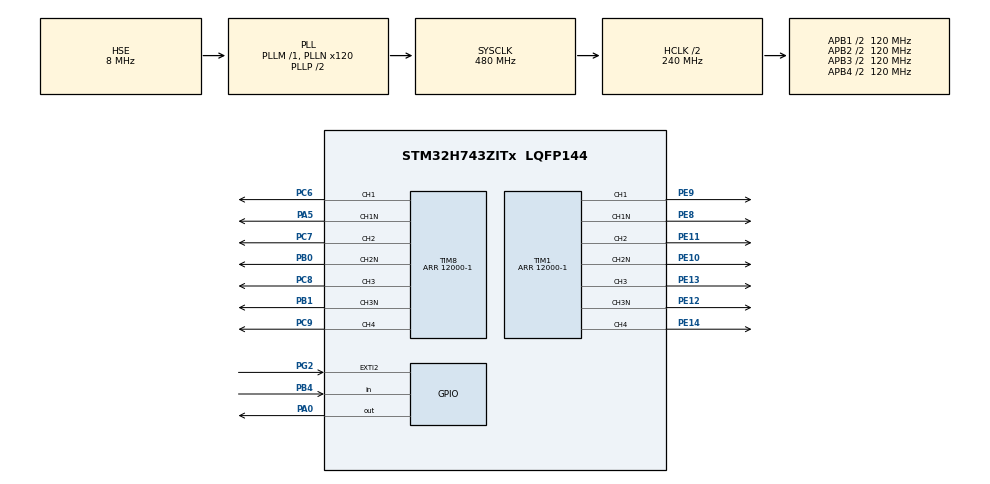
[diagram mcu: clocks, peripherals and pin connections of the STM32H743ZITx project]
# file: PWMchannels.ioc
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CORTEX_M7.CPU_DCache=Enabled
CORTEX_M7.CPU_ICache=Enabled
Mcu.Family=STM32H7
Mcu.Name=STM32H743ZITx
Mcu.Package=LQFP144
NVIC.PriorityGroup=NVIC_PRIORITYGROUP_4
NVIC.TIM1_CC_IRQn=true\:0\:0\:false\:false\:true\:true\:true
NVIC.TIM8_CC_IRQn=true\:0\:0\:false\:false\:true\:true\:true
PA0.GPIO_Speed=GPIO_SPEED_FREQ_VERY_HIGH
PA0.PinState=GPIO_PIN_RESET
PA0.Signal=GPIO_Output
PA5.GPIO_Speed=GPIO_SPEED_FREQ_VERY_HIGH
PA5.Mode=PWM Generation1 CH1 CH1N
PA5.Signal=TIM8_CH1N
PB0.GPIO_Speed=GPIO_SPEED_FREQ_VERY_HIGH
PB0.Mode=PWM Generation2 CH2 CH2N
PB0.Signal=TIM8_CH2N
PB1.GPIO_Speed=GPIO_SPEED_FREQ_VERY_HIGH
PB1.Mode=PWM Generation3 CH3 CH3N
PB1.Signal=TIM8_CH3N
PB4\ (NJTRST).Signal=GPIO_Input
PC14-OSC32_IN\ (OSC32_IN).Mode=LSE-External-Oscillator
PC14-OSC32_IN\ (OSC32_IN).Signal=RCC_OSC32_IN
PC15-OSC32_OUT\ (OSC32_OUT).Mode=LSE-External-Oscillator
PC15-OSC32_OUT\ (OSC32_OUT).Signal=RCC_OSC32_OUT
PC6.GPIO_Speed=GPIO_SPEED_FREQ_VERY_HIGH
PC6.Signal=S_TIM8_CH1
PC7.GPIO_Speed=GPIO_SPEED_FREQ_VERY_HIGH
PC7.Signal=S_TIM8_CH2
PC8.GPIO_ModeDefaultPP=GPIO_MODE_AF_PP
PC8.GPIO_Speed=GPIO_SPEED_FREQ_VERY_HIGH
PC8.Signal=S_TIM8_CH3
PC9.GPIO_Speed=GPIO_SPEED_FREQ_VERY_HIGH
PC9.Signal=S_TIM8_CH4
PE10.GPIO_Speed=GPIO_SPEED_FREQ_VERY_HIGH
PE10.Mode=PWM Generation2 CH2 CH2N
PE10.Signal=TIM1_CH2N
PE11.GPIO_Speed=GPIO_SPEED_FREQ_VERY_HIGH
PE11.Signal=S_TIM1_CH2
PE12.GPIO_Speed=GPIO_SPEED_FREQ_VERY_HIGH
PE12.Mode=PWM Generation3 CH3 CH3N
PE12.Signal=TIM1_CH3N
PE13.GPIO_Speed=GPIO_SPEED_FREQ_VERY_HIGH
PE13.Signal=S_TIM1_CH3
PE14.Signal=S_TIM1_CH4
PE8.GPIO_Speed=GPIO_SPEED_FREQ_VERY_HIGH
PE8.Mode=PWM Generation1 CH1 CH1N
PE8.Signal=TIM1_CH1N
PE9.GPIO_Speed=GPIO_SPEED_FREQ_VERY_HIGH
PE9.Signal=S_TIM1_CH1
PG2.Signal=GPXTI2
PH0-OSC_IN\ (PH0).Mode=HSE-External-Oscillator
PH0-OSC_IN\ (PH0).Signal=RCC_OSC_IN
PH1-OSC_OUT\ (PH1).Mode=HSE-External-Oscillator
PH1-OSC_OUT\ (PH1).Signal=RCC_OSC_OUT
ProjectManager.HeapSize=0x200
ProjectManager.StackSize=0x400
ProjectManager.TargetToolchain=STM32CubeIDE
RCC.ADCFreq_Value=16125000
RCC.APB1Freq_Value=120000000
RCC.APB2Freq_Value=120000000
RCC.APB3Freq_Value=120000000
RCC.APB4Freq_Value=120000000
RCC.CortexFreq_Value=480000000
RCC.D1PPRE=RCC_APB3_DIV2
RCC.D2PPRE1=RCC_APB1_DIV2
RCC.D2PPRE2=RCC_APB2_DIV2
RCC.D3PPRE=RCC_APB4_DIV2
RCC.DIVM1=1
RCC.DIVN1=120
RCC.HCLKFreq_Value=240000000
RCC.HPRE=RCC_HCLK_DIV2
RCC.HSE_VALUE=8000000
RCC.PLL2FRACN=0
RCC.PLL3FRACN=0
RCC.PLLFRACN=0
RCC.PLLSourceVirtual=RCC_PLLSOURCE_HSE
RCC.RCC_MCODiv1=RCC_MCODIV_6
RCC.SYSCLKFreq_VALUE=480000000
RCC.SYSCLKSource=RCC_SYSCLKSOURCE_PLLCLK
RCC.USBFreq_Value=480000000
SH.S_TIM1_CH1.0=TIM1_CH1,PWM Generation1 CH1 CH1N
SH.S_TIM1_CH2.0=TIM1_CH2,PWM Generation2 CH2 CH2N
SH.S_TIM1_CH3.0=TIM1_CH3,PWM Generation3 CH3 CH3N
SH.S_TIM1_CH4.0=TIM1_CH4,PWM Generation4 CH4
SH.S_TIM8_CH1.0=TIM8_CH1,PWM Generation1 CH1 CH1N
SH.S_TIM8_CH2.0=TIM8_CH2,PWM Generation2 CH2 CH2N
SH.S_TIM8_CH3.0=TIM8_CH3,PWM Generation3 CH3 CH3N
SH.S_TIM8_CH4.0=TIM8_CH4,PWM Generation4 CH4
TIM1.AutoReloadPreload=TIM_AUTORELOAD_PRELOAD_ENABLE
TIM1.Channel-PWM\ Generation1\ CH1\ CH1N=TIM_CHANNEL_1
TIM1.Channel-PWM\ Generation2\ CH2\ CH2N=TIM_CHANNEL_2
TIM1.Channel-PWM\ Generation3\ CH3\ CH3N=TIM_CHANNEL_3
TIM1.Channel-PWM\ Generation4\ CH4=TIM_CHANNEL_4
TIM1.ClockDivision=TIM_CLOCKDIVISION_DIV1
TIM1.CounterMode=TIM_COUNTERMODE_CENTERALIGNED1
TIM1.OCNIdleState_1=TIM_OCNIDLESTATE_RESET
TIM1.OCNPolarity_1=TIM_OCNPOLARITY_HIGH
TIM1.OCPolarity_1=TIM_OCPOLARITY_HIGH
TIM1.Period=12000-1
TIM1.TIM_MasterOutputTrigger=TIM_TRGO_RESET
TIM1.TIM_MasterOutputTrigger2=TIM_TRGO2_RESET
TIM1.TIM_MasterSlaveMode=TIM_MASTERSLAVEMODE_DISABLE
TIM8.AutoReloadPreload=TIM_AUTORELOAD_PRELOAD_ENABLE
TIM8.Channel-PWM\ Generation1\ CH1\ CH1N=TIM_CHANNEL_1
TIM8.Channel-PWM\ Generation2\ CH2\ CH2N=TIM_CHANNEL_2
TIM8.Channel-PWM\ Generation3\ CH3\ CH3N=TIM_CHANNEL_3
TIM8.Channel-PWM\ Generation4\ CH4=TIM_CHANNEL_4
TIM8.CounterMode=TIM_COUNTERMODE_CENTERALIGNED1
TIM8.Period=12000-1
TIM8.TIM_MasterSlaveMode=TIM_MASTERSLAVEMODE_DISABLE
VP_TIM1_VS_ClockSourceINT.Mode=Internal
VP_TIM8_VS_ClockSourceINT.Mode=Internal
board=NUCLEO-H743ZI

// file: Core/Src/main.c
/* USER CODE BEGIN Header */
/**
  ******************************************************************************
  * @file           : main.c
  * @brief          : Main program body
  ******************************************************************************
  * @attention
  *
  * <h2><center>&copy; Copyright (c) 2019 STMicroelectronics.
  * All rights reserved.</center></h2>
  *
  * This software component is licensed by ST under BSD 3-Clause license,
  * the "License"; You may not use this file except in compliance with the
  * License. You may obtain a copy of the License at:
  *                        opensource.org/licenses/BSD-3-Clause
  *
  ******************************************************************************
  */
/* USER CODE END Header */

#include "main.h"

TIM_HandleTypeDef htim1;
TIM_HandleTypeDef htim8;

void SystemClock_Config(void);
static void MX_GPIO_Init(void);
static void MX_TIM1_Init(void);
static void MX_TIM8_Init(void);

int main(void)
{

  /* Enable I-Cache---------------------------------------------------------*/
  SCB_EnableICache();

  /* Enable D-Cache---------------------------------------------------------*/
  SCB_EnableDCache();

  /* MCU Configuration--------------------------------------------------------*/

  /* Reset of all peripherals, Initializes the Flash interface and the Systick. */
  HAL_Init();

  /* Configure the system clock */
  SystemClock_Config();

  /* Initialize all configured peripherals */
  MX_GPIO_Init();
  MX_TIM1_Init();
  MX_TIM8_Init();
  /* USER CODE BEGIN 2 */
  __HAL_TIM_SetCounter(&htim1, 0);
  __HAL_TIM_SetCounter(&htim8, 6000);
  HAL_TIM_PWM_Start(&htim1, TIM_CHANNEL_1);
  HAL_TIMEx_PWMN_Start(&htim1, TIM_CHANNEL_1);
  HAL_TIM_PWM_Start(&htim1, TIM_CHANNEL_2);
  HAL_TIMEx_PWMN_Start(&htim1, TIM_CHANNEL_2);
  HAL_TIM_PWM_Start(&htim1, TIM_CHANNEL_3);
  HAL_TIMEx_PWMN_Start(&htim1, TIM_CHANNEL_3);
  HAL_TIM_PWM_Start_IT(&htim1, TIM_CHANNEL_4);
  //HAL_TIM_PWM_Start(&htim1, TIM_CHANNEL_5);

  //HAL_TIM_Base_Start(&htim2);
  //HAL_TIM_IC_Start_IT(&htim2, TIM_CHANNEL_1);

  HAL_TIM_PWM_Start(&htim8, TIM_CHANNEL_1);
  HAL_TIMEx_PWMN_Start(&htim8, TIM_CHANNEL_1);
  HAL_TIM_PWM_Start(&htim8, TIM_CHANNEL_2);
  HAL_TIMEx_PWMN_Start(&htim8, TIM_CHANNEL_2);
  HAL_TIM_PWM_Start(&htim8, TIM_CHANNEL_3);
  HAL_TIMEx_PWMN_Start(&htim8, TIM_CHANNEL_3);
  HAL_TIM_PWM_Start_IT(&htim8, TIM_CHANNEL_4);

  __HAL_TIM_SET_COMPARE(&htim1, TIM_CHANNEL_1, 500);
  __HAL_TIM_SET_COMPARE(&htim1, TIM_CHANNEL_2, 200);
  __HAL_TIM_SET_COMPARE(&htim1, TIM_CHANNEL_3, 3000);
  __HAL_TIM_SET_COMPARE(&htim1, TIM_CHANNEL_4, 4000);
  //__HAL_TIM_SET_COMPARE(&htim1, TIM_CHANNEL_5, 7000);

  __HAL_TIM_SET_COMPARE(&htim8, TIM_CHANNEL_1, 500);
  __HAL_TIM_SET_COMPARE(&htim8, TIM_CHANNEL_2, 200);
  __HAL_TIM_SET_COMPARE(&htim8, TIM_CHANNEL_3, 3000);
  __HAL_TIM_SET_COMPARE(&htim8, TIM_CHANNEL_4, 4000);
  //__HAL_TIM_SET_COMPARE(&htim8, TIM_CHANNEL_5, 7000);

  /* USER CODE END 2 */

  /* Infinite loop */
  /* USER CODE BEGIN WHILE */
  int32_t delta = 0;
  int32_t i = 0;
  while (1)
  {

	 // delta = 8000+5000*sinf(0.1*i++);
	 // HAL_Delay(1);
	 // __HAL_TIM_SET_AUTORELOAD(&htim1, delta);
    /* USER CODE END WHILE */

  }
}

void SystemClock_Config(void)
{
  RCC_OscInitTypeDef RCC_OscInitStruct = {0};
  RCC_ClkInitTypeDef RCC_ClkInitStruct = {0};

  /** Supply configuration update enable
  */
  HAL_PWREx_ConfigSupply(PWR_LDO_SUPPLY);
  /** Configure the main internal regulator output voltage
  */
  __HAL_PWR_VOLTAGESCALING_CONFIG(PWR_REGULATOR_VOLTAGE_SCALE0);

  while(!__HAL_PWR_GET_FLAG(PWR_FLAG_VOSRDY)) {}
  /** Initializes the CPU, AHB and APB busses clocks
  */
  RCC_OscInitStruct.OscillatorType = RCC_OSCILLATORTYPE_HSE;
  RCC_OscInitStruct.HSEState = RCC_HSE_ON;
  RCC_OscInitStruct.PLL.PLLState = RCC_PLL_ON;
  RCC_OscInitStruct.PLL.PLLSource = RCC_PLLSOURCE_HSE;
  RCC_OscInitStruct.PLL.PLLM = 1;
  RCC_OscInitStruct.PLL.PLLN = 120;
  RCC_OscInitStruct.PLL.PLLP = 2;
  RCC_OscInitStruct.PLL.PLLQ = 2;
  RCC_OscInitStruct.PLL.PLLR = 2;
  RCC_OscInitStruct.PLL.PLLRGE = RCC_PLL1VCIRANGE_3;
  RCC_OscInitStruct.PLL.PLLVCOSEL = RCC_PLL1VCOWIDE;
  RCC_OscInitStruct.PLL.PLLFRACN = 0;
  if (HAL_RCC_OscConfig(&RCC_OscInitStruct) != HAL_OK)
  {
    Error_Handler();
  }
  /** Initializes the CPU, AHB and APB busses clocks
  */
  RCC_ClkInitStruct.ClockType = RCC_CLOCKTYPE_HCLK|RCC_CLOCKTYPE_SYSCLK
                              |RCC_CLOCKTYPE_PCLK1|RCC_CLOCKTYPE_PCLK2
                              |RCC_CLOCKTYPE_D3PCLK1|RCC_CLOCKTYPE_D1PCLK1;
  RCC_ClkInitStruct.SYSCLKSource = RCC_SYSCLKSOURCE_PLLCLK;
  RCC_ClkInitStruct.SYSCLKDivider = RCC_SYSCLK_DIV1;
  RCC_ClkInitStruct.AHBCLKDivider = RCC_HCLK_DIV2;
  RCC_ClkInitStruct.APB3CLKDivider = RCC_APB3_DIV2;
  RCC_ClkInitStruct.APB1CLKDivider = RCC_APB1_DIV2;
  RCC_ClkInitStruct.APB2CLKDivider = RCC_APB2_DIV2;
  RCC_ClkInitStruct.APB4CLKDivider = RCC_APB4_DIV2;

  if (HAL_RCC_ClockConfig(&RCC_ClkInitStruct, FLASH_LATENCY_4) != HAL_OK)
  {
    Error_Handler();
  }
}

static void MX_TIM1_Init(void)
{

  TIM_ClockConfigTypeDef sClockSourceConfig = {0};
  TIM_MasterConfigTypeDef sMasterConfig = {0};
  TIM_OC_InitTypeDef sConfigOC = {0};
  TIM_BreakDeadTimeConfigTypeDef sBreakDeadTimeConfig = {0};

  htim1.Instance = TIM1;
  htim1.Init.Prescaler = 0;
  htim1.Init.CounterMode = TIM_COUNTERMODE_CENTERALIGNED1;
  htim1.Init.Period = 12000-1;
  htim1.Init.ClockDivision = TIM_CLOCKDIVISION_DIV1;
  htim1.Init.RepetitionCounter = 0;
  htim1.Init.AutoReloadPreload = TIM_AUTORELOAD_PRELOAD_ENABLE;
  if (HAL_TIM_Base_Init(&htim1) != HAL_OK)
  {
    Error_Handler();
  }
  sClockSourceConfig.ClockSource = TIM_CLOCKSOURCE_INTERNAL;
  if (HAL_TIM_ConfigClockSource(&htim1, &sClockSourceConfig) != HAL_OK)
  {
    Error_Handler();
  }
  if (HAL_TIM_PWM_Init(&htim1) != HAL_OK)
  {
    Error_Handler();
  }
  sMasterConfig.MasterOutputTrigger = TIM_TRGO_RESET;
  sMasterConfig.MasterOutputTrigger2 = TIM_TRGO2_RESET;
  sMasterConfig.MasterSlaveMode = TIM_MASTERSLAVEMODE_DISABLE;
  if (HAL_TIMEx_MasterConfigSynchronization(&htim1, &sMasterConfig) != HAL_OK)
  {
    Error_Handler();
  }
  sConfigOC.OCMode = TIM_OCMODE_PWM1;
  sConfigOC.Pulse = 0;
  sConfigOC.OCPolarity = TIM_OCPOLARITY_HIGH;
  sConfigOC.OCNPolarity = TIM_OCNPOLARITY_HIGH;
  sConfigOC.OCFastMode = TIM_OCFAST_DISABLE;
  sConfigOC.OCIdleState = TIM_OCIDLESTATE_RESET;
  sConfigOC.OCNIdleState = TIM_OCNIDLESTATE_RESET;
  if (HAL_TIM_PWM_ConfigChannel(&htim1, &sConfigOC, TIM_CHANNEL_1) != HAL_OK)
  {
    Error_Handler();
  }
  if (HAL_TIM_PWM_ConfigChannel(&htim1, &sConfigOC, TIM_CHANNEL_2) != HAL_OK)
  {
    Error_Handler();
  }
  if (HAL_TIM_PWM_ConfigChannel(&htim1, &sConfigOC, TIM_CHANNEL_3) != HAL_OK)
  {
    Error_Handler();
  }
  if (HAL_TIM_PWM_ConfigChannel(&htim1, &sConfigOC, TIM_CHANNEL_4) != HAL_OK)
  {
    Error_Handler();
  }
  sBreakDeadTimeConfig.OffStateRunMode = TIM_OSSR_DISABLE;
  sBreakDeadTimeConfig.OffStateIDLEMode = TIM_OSSI_DISABLE;
  sBreakDeadTimeConfig.LockLevel = TIM_LOCKLEVEL_OFF;
  sBreakDeadTimeConfig.DeadTime = 0;
  sBreakDeadTimeConfig.BreakState = TIM_BREAK_DISABLE;
  sBreakDeadTimeConfig.BreakPolarity = TIM_BREAKPOLARITY_HIGH;
  sBreakDeadTimeConfig.BreakFilter = 0;
  sBreakDeadTimeConfig.Break2State = TIM_BREAK2_DISABLE;
  sBreakDeadTimeConfig.Break2Polarity = TIM_BREAK2POLARITY_HIGH;
  sBreakDeadTimeConfig.Break2Filter = 0;
  sBreakDeadTimeConfig.AutomaticOutput = TIM_AUTOMATICOUTPUT_DISABLE;
  if (HAL_TIMEx_ConfigBreakDeadTime(&htim1, &sBreakDeadTimeConfig) != HAL_OK)
  {
    Error_Handler();
  }
  HAL_TIM_MspPostInit(&htim1);

}

static void MX_TIM8_Init(void)
{

  TIM_ClockConfigTypeDef sClockSourceConfig = {0};
  TIM_MasterConfigTypeDef sMasterConfig = {0};
  TIM_OC_InitTypeDef sConfigOC = {0};
  TIM_BreakDeadTimeConfigTypeDef sBreakDeadTimeConfig = {0};

  htim8.Instance = TIM8;
  htim8.Init.Prescaler = 0;
  htim8.Init.CounterMode = TIM_COUNTERMODE_CENTERALIGNED1;
  htim8.Init.Period = 12000-1;
  htim8.Init.ClockDivision = TIM_CLOCKDIVISION_DIV1;
  htim8.Init.RepetitionCounter = 0;
  htim8.Init.AutoReloadPreload = TIM_AUTORELOAD_PRELOAD_ENABLE;
  if (HAL_TIM_Base_Init(&htim8) != HAL_OK)
  {
    Error_Handler();
  }
  sClockSourceConfig.ClockSource = TIM_CLOCKSOURCE_INTERNAL;
  if (HAL_TIM_ConfigClockSource(&htim8, &sClockSourceConfig) != HAL_OK)
  {
    Error_Handler();
  }
  if (HAL_TIM_PWM_Init(&htim8) != HAL_OK)
  {
    Error_Handler();
  }
  sMasterConfig.MasterOutputTrigger = TIM_TRGO_RESET;
  sMasterConfig.MasterOutputTrigger2 = TIM_TRGO2_RESET;
  sMasterConfig.MasterSlaveMode = TIM_MASTERSLAVEMODE_DISABLE;
  if (HAL_TIMEx_MasterConfigSynchronization(&htim8, &sMasterConfig) != HAL_OK)
  {
    Error_Handler();
  }
  sConfigOC.OCMode = TIM_OCMODE_PWM1;
  sConfigOC.Pulse = 0;
  sConfigOC.OCPolarity = TIM_OCPOLARITY_HIGH;
  sConfigOC.OCNPolarity = TIM_OCNPOLARITY_HIGH;
  sConfigOC.OCFastMode = TIM_OCFAST_DISABLE;
  sConfigOC.OCIdleState = TIM_OCIDLESTATE_RESET;
  sConfigOC.OCNIdleState = TIM_OCNIDLESTATE_RESET;
  if (HAL_TIM_PWM_ConfigChannel(&htim8, &sConfigOC, TIM_CHANNEL_1) != HAL_OK)
  {
    Error_Handler();
  }
  if (HAL_TIM_PWM_ConfigChannel(&htim8, &sConfigOC, TIM_CHANNEL_2) != HAL_OK)
  {
    Error_Handler();
  }
  if (HAL_TIM_PWM_ConfigChannel(&htim8, &sConfigOC, TIM_CHANNEL_3) != HAL_OK)
  {
    Error_Handler();
  }
  if (HAL_TIM_PWM_ConfigChannel(&htim8, &sConfigOC, TIM_CHANNEL_4) != HAL_OK)
  {
    Error_Handler();
  }
  sBreakDeadTimeConfig.OffStateRunMode = TIM_OSSR_DISABLE;
  sBreakDeadTimeConfig.OffStateIDLEMode = TIM_OSSI_DISABLE;
  sBreakDeadTimeConfig.LockLevel = TIM_LOCKLEVEL_OFF;
  sBreakDeadTimeConfig.DeadTime = 0;
  sBreakDeadTimeConfig.BreakState = TIM_BREAK_DISABLE;
  sBreakDeadTimeConfig.BreakPolarity = TIM_BREAKPOLARITY_HIGH;
  sBreakDeadTimeConfig.BreakFilter = 0;
  sBreakDeadTimeConfig.Break2State = TIM_BREAK2_DISABLE;
  sBreakDeadTimeConfig.Break2Polarity = TIM_BREAK2POLARITY_HIGH;
  sBreakDeadTimeConfig.Break2Filter = 0;
  sBreakDeadTimeConfig.AutomaticOutput = TIM_AUTOMATICOUTPUT_DISABLE;
  if (HAL_TIMEx_ConfigBreakDeadTime(&htim8, &sBreakDeadTimeConfig) != HAL_OK)
  {
    Error_Handler();
  }
  HAL_TIM_MspPostInit(&htim8);

}

static void MX_GPIO_Init(void)
{
  GPIO_InitTypeDef GPIO_InitStruct = {0};

  /* GPIO Ports Clock Enable */
  __HAL_RCC_GPIOC_CLK_ENABLE();
  __HAL_RCC_GPIOH_CLK_ENABLE();
  __HAL_RCC_GPIOA_CLK_ENABLE();
  __HAL_RCC_GPIOB_CLK_ENABLE();
  __HAL_RCC_GPIOE_CLK_ENABLE();
  __HAL_RCC_GPIOG_CLK_ENABLE();

  /*Configure GPIO pin Output Level */
  HAL_GPIO_WritePin(GPIOA, GPIO_PIN_0, GPIO_PIN_RESET);

  /*Configure GPIO pin : PA0 */
  GPIO_InitStruct.Pin = GPIO_PIN_0;
  GPIO_InitStruct.Mode = GPIO_MODE_OUTPUT_PP;
  GPIO_InitStruct.Pull = GPIO_NOPULL;
  GPIO_InitStruct.Speed = GPIO_SPEED_FREQ_VERY_HIGH;
  HAL_GPIO_Init(GPIOA, &GPIO_InitStruct);

  /*Configure GPIO pin : PG2 */
  GPIO_InitStruct.Pin = GPIO_PIN_2;
  GPIO_InitStruct.Mode = GPIO_MODE_IT_RISING;
  GPIO_InitStruct.Pull = GPIO_NOPULL;
  HAL_GPIO_Init(GPIOG, &GPIO_InitStruct);

  /*Configure GPIO pin : PB4 */
  GPIO_InitStruct.Pin = GPIO_PIN_4;
  GPIO_InitStruct.Mode = GPIO_MODE_INPUT;
  GPIO_InitStruct.Pull = GPIO_NOPULL;
  HAL_GPIO_Init(GPIOB, &GPIO_InitStruct);

}

void Error_Handler(void)
{
}

/************************ (C) COPYRIGHT STMicroelectronics *****END OF FILE****/
